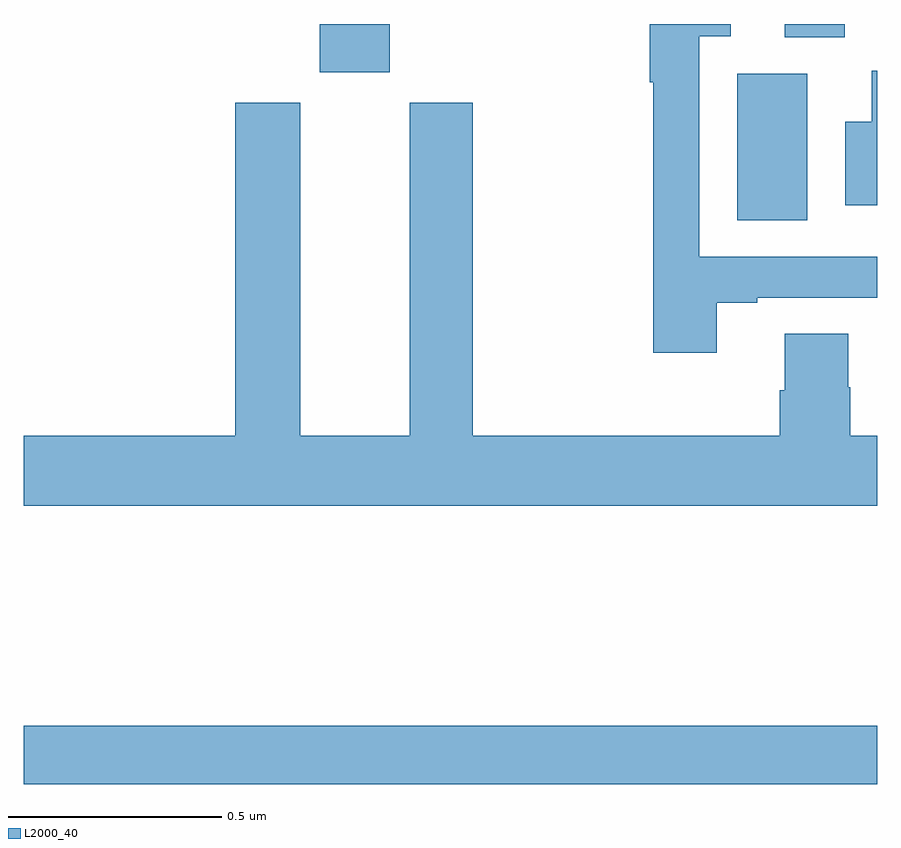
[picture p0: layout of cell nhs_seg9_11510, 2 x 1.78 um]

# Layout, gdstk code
import gdstk
lib = gdstk.Library(unit=1e-6, precision=1e-09)
def R(c, l, rs):  # rectangles x0, y0, x1, y1
    for r in rs: c.add(gdstk.rectangle(r[:2], r[2:], *l))
def P(c, l, *ps):  # polygons
    for p in ps: c.add(gdstk.Polygon(p, *l))
L2000_40 = (2000, 40)

nhs_seg9_11510 = lib.new_cell('nhs_seg9_11510')
R(nhs_seg9_11510, L2000_40, [(256,1243.72,258,1243.856), (257.672,1245.04,257.836,1245.384), (256.694,1245.387,256.858,1245.5), (257.783,1245.469,257.923,1245.5)])
P(nhs_seg9_11510, L2000_40, [(257.623,1244.847),(257.719,1244.847),(257.719,1244.859),(258,1244.859),(258,1244.955),(257.583,1244.955),(257.583,1245.471),(257.656,1245.471),(257.656,1245.5),(257.467,1245.5),(257.467,1245.364),(257.475,1245.364),(257.475,1244.73),(257.623,1244.73)],
  [(258,1245.39),(257.987,1245.39),(257.987,1245.271),(257.924,1245.271),(257.924,1245.075),(258,1245.075)],
  [(258,1244.536),(257.936,1244.536),(257.936,1244.649),(257.931,1244.649),(257.931,1244.774),(257.783,1244.774),(257.783,1244.642),(257.771,1244.642),(257.771,1244.536),(257.052,1244.536),(257.052,1245.315),(256.904,1245.315),(256.904,1244.536),(256.648,1244.536),(256.648,1245.315),(256.496,1245.315),(256.496,1244.536),(256,1244.536),(256,1244.372),(258,1244.372)])

lib.write_gds('nhs_seg9_11510.gds')
